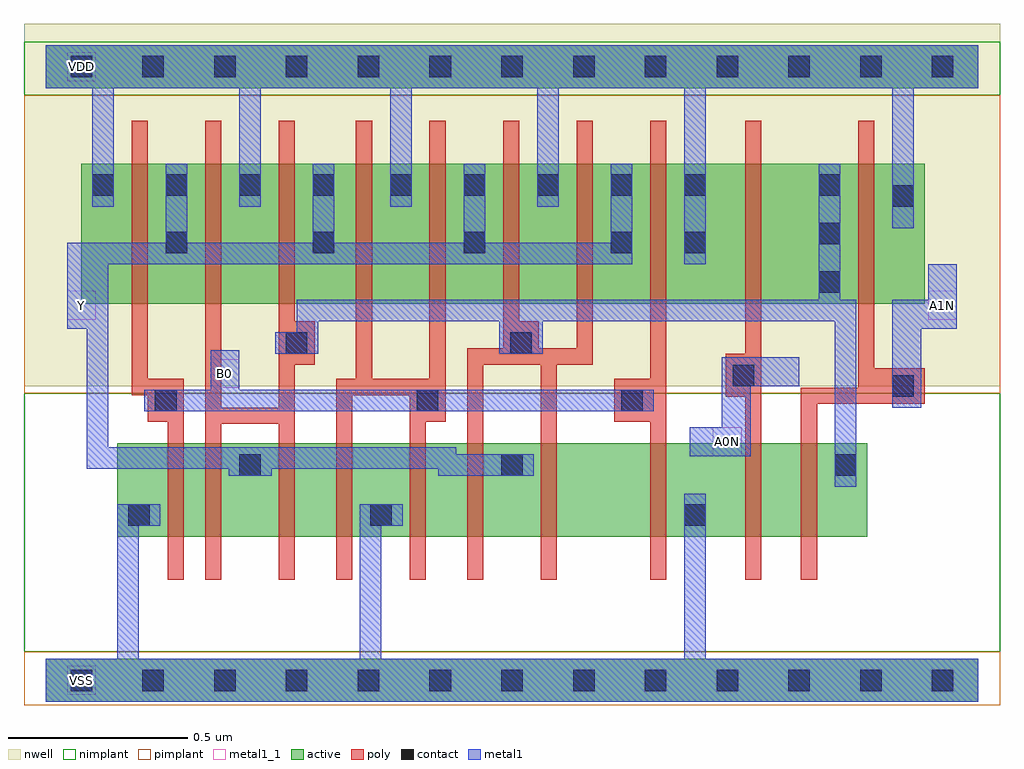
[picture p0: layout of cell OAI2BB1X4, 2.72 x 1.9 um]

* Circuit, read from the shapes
.subckt OAI2BB1X4 A0N A1N B0 VDD VSS Y
M1 n1 B0 VSS VSS nfet w=0.26u l=0.045u
M2 Y n2 n1 VSS nfet w=0.26u l=0.045u
M3 n3 n2 Y VSS nfet w=0.26u l=0.045u
M4 VSS B0 n3 VSS nfet w=0.26u l=0.045u
M5 n4 B0 VSS VSS nfet w=0.26u l=0.045u
M6 Y n2 n4 VSS nfet w=0.26u l=0.045u
M7 n5 n2 Y VSS nfet w=0.26u l=0.045u
M8 VSS B0 n5 VSS nfet w=0.26u l=0.045u
M9 n6 A0N VSS VSS nfet w=0.26u l=0.045u
M10 n2 A1N n6 VSS nfet w=0.26u l=0.045u
M11 Y B0 VDD VDD pfet w=0.39u l=0.045u m=4
M12 VDD n2 Y VDD pfet w=0.39u l=0.045u m=4
M13 n2 A0N VDD VDD pfet w=0.39u l=0.045u
M14 VDD A1N n2 VDD pfet w=0.39u l=0.045u
.ends

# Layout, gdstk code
import gdstk
lib = gdstk.Library(unit=1e-6, precision=5e-10)
def R(c, l, rs):  # rectangles x0, y0, x1, y1
    for r in rs: c.add(gdstk.rectangle(r[:2], r[2:], *l))
def A(c, l, x, y, w, h, nx, ny, dx, dy):  # array of equal rectangles
    R(c, l, [(x+i*dx, y+j*dy, x+i*dx+w, y+j*dy+h) for i in range(nx) for j in range(ny)])
def P(c, l, *ps):  # polygons
    for p in ps: c.add(gdstk.Polygon(p, *l))
active = (1, 0)
nwell = (2, 0)
poly = (3, 0)
nimplant = (4, 0)
pimplant = (5, 0)
contact = (6, 0)
metal1 = (7, 0)
metal1_1 = (7, 1)

oai2bb1x4 = lib.new_cell('OAI2BB1X4')
R(oai2bb1x4, active, [(0,-0.06,2.6,0.06), (0.2,0.4,2.29,0.66), (0.1,1.05,2.45,1.44), (0,1.65,2.6,1.77)])
R(oai2bb1x4, nwell, [(-0.06,0.82,2.66,1.83)])
P(oai2bb1x4, poly, [(0.24,1.56),(0.285,1.56),(0.285,0.84),(0.385,0.84),(0.385,0.28),(0.34,0.28),(0.34,0.72),(0.285,0.72),(0.285,0.795),(0.24,0.795)],
  [(0.445,1.56),(0.49,1.56),(0.49,0.76),(0.65,0.76),(0.65,1.56),(0.695,1.56),(0.695,1),(0.75,1),(0.75,0.88),(0.695,0.88),(0.695,0.28),(0.65,0.28),(0.65,0.715),(0.49,0.715),(0.49,0.28),(0.445,0.28)],
  [(0.865,1.56),(0.91,1.56),(0.91,0.84),(1.07,0.84),(1.07,1.56),(1.115,1.56),(1.115,0.72),(1.06,0.72),(1.06,0.28),(1.015,0.28),(1.015,0.795),(0.855,0.795),(0.855,0.28),(0.81,0.28),(0.81,0.84),(0.865,0.84)],
  [(1.275,1.56),(1.32,1.56),(1.32,1),(1.375,1),(1.375,0.925),(1.48,0.925),(1.48,1.56),(1.525,1.56),(1.525,0.88),(1.425,0.88),(1.425,0.28),(1.38,0.28),(1.38,0.88),(1.22,0.88),(1.22,0.28),(1.175,0.28),(1.175,0.925),(1.275,0.925)],
  [(1.685,1.56),(1.73,1.56),(1.73,0.28),(1.685,0.28),(1.685,0.72),(1.585,0.72),(1.585,0.84),(1.685,0.84)],
  [(1.95,1.56),(1.995,1.56),(1.995,0.28),(1.95,0.28),(1.95,0.79),(1.895,0.79),(1.895,0.91),(1.95,0.91)],
  [(2.265,1.56),(2.31,1.56),(2.31,0.87),(2.45,0.87),(2.45,0.77),(2.15,0.77),(2.15,0.28),(2.105,0.28),(2.105,0.815),(2.265,0.815)])
R(oai2bb1x4, nimplant, [(-0.06,0.08,2.66,0.8), (-0.06,1.63,2.66,1.78)])
R(oai2bb1x4, pimplant, [(-0.06,-0.07,2.66,0.08), (-0.06,0.8,2.66,1.63)])
A(oai2bb1x4, contact, 0.07, -0.03, 0.06, 0.06, 13, 2, 0.2, 1.71)
A(oai2bb1x4, contact, 2.155, 1.08, 0.06, 0.06, 1, 3, 0, 0.135)
A(oai2bb1x4, contact, 0.13, 1.35, 0.06, 0.06, 4, 1, 0.205, 0)
A(oai2bb1x4, contact, 0.96, 1.35, 0.06, 0.06, 5, 1, 0.205, 0)
R(oai2bb1x4, contact, [(0.23,0.43,0.29,0.49), (0.905,0.43,0.965,0.49), (1.78,0.43,1.84,0.49), (0.54,0.57,0.6,0.63), (1.27,0.57,1.33,0.63), (2.2,0.57,2.26,0.63), (0.305,0.75,0.365,0.81), (1.035,0.75,1.095,0.81), (1.605,0.75,1.665,0.81), (2.36,0.79,2.42,0.85), (1.915,0.82,1.975,0.88), (0.67,0.91,0.73,0.97), (1.295,0.91,1.355,0.97), (0.335,1.19,0.395,1.25), (0.745,1.19,0.805,1.25), (1.165,1.19,1.225,1.25), (1.575,1.19,1.635,1.25), (1.78,1.19,1.84,1.25), (2.36,1.32,2.42,1.38)])
P(oai2bb1x4, metal1, [(0,1.77),(2.6,1.77),(2.6,1.65),(2.42,1.65),(2.42,1.26),(2.36,1.26),(2.36,1.65),(1.84,1.65),(1.84,1.16),(1.78,1.16),(1.78,1.65),(1.43,1.65),(1.43,1.32),(1.37,1.32),(1.37,1.65),(1.02,1.65),(1.02,1.32),(0.96,1.32),(0.96,1.65),(0.6,1.65),(0.6,1.32),(0.54,1.32),(0.54,1.65),(0.19,1.65),(0.19,1.32),(0.13,1.32),(0.13,1.65),(0,1.65)],
  [(0.335,1.44),(0.395,1.44),(0.395,1.22),(0.745,1.22),(0.745,1.44),(0.805,1.44),(0.805,1.22),(1.165,1.22),(1.165,1.44),(1.225,1.44),(1.225,1.22),(1.575,1.22),(1.575,1.44),(1.635,1.44),(1.635,1.16),(0.175,1.16),(0.175,0.65),(1.145,0.65),(1.145,0.63),(1.36,0.63),(1.36,0.57),(1.095,0.57),(1.095,0.59),(0.63,0.59),(0.63,0.57),(0.51,0.57),(0.51,0.59),(0.115,0.59),(0.115,0.98),(0.06,0.98),(0.06,1.22),(0.335,1.22)],
  [(2.155,1.44),(2.215,1.44),(2.215,1.06),(2.26,1.06),(2.26,0.54),(2.2,0.54),(2.2,1),(1.385,1),(1.385,0.91),(1.265,0.91),(1.265,1),(0.76,1),(0.76,0.91),(0.64,0.91),(0.64,0.97),(0.7,0.97),(0.7,1.06),(2.155,1.06)],
  [(0.46,0.92),(0.54,0.92),(0.54,0.81),(1.695,0.81),(1.695,0.75),(0.275,0.75),(0.275,0.81),(0.46,0.81)],
  [(2.46,1.16),(2.54,1.16),(2.54,0.98),(2.44,0.98),(2.44,0.76),(2.36,0.76),(2.36,1.06),(2.46,1.06)],
  [(1.885,0.9),(2.1,0.9),(2.1,0.82),(1.965,0.82),(1.965,0.625),(1.795,0.625),(1.795,0.705),(1.885,0.705)],
  [(0.2,0.49),(0.32,0.49),(0.32,0.43),(0.26,0.43),(0.26,0.06),(0.875,0.06),(0.875,0.49),(0.995,0.49),(0.995,0.43),(0.935,0.43),(0.935,0.06),(1.78,0.06),(1.78,0.52),(1.84,0.52),(1.84,0.06),(2.6,0.06),(2.6,-0.06),(0,-0.06),(0,0.06),(0.2,0.06)])
R(oai2bb1x4, metal1_1, [(0.06,-0.04,0.14,0.04), (1.86,0.625,1.94,0.705), (0.46,0.815,0.54,0.895), (0.06,1.005,0.14,1.085), (2.46,1.005,2.54,1.085), (0.06,1.67,0.14,1.75)])
oai2bb1x4.add(gdstk.Label('Y', (0.1,1.045), layer=7, texttype=1))
oai2bb1x4.add(gdstk.Label('A0N', (1.9,0.665), layer=7, texttype=1))
oai2bb1x4.add(gdstk.Label('A1N', (2.5,1.045), layer=7, texttype=1))
oai2bb1x4.add(gdstk.Label('B0', (0.5,0.855), layer=7, texttype=1))
oai2bb1x4.add(gdstk.Label('VDD', (0.1,1.71), layer=7, texttype=1))
oai2bb1x4.add(gdstk.Label('VSS', (0.1,0), layer=7, texttype=1))
oai2bb1x4.add(gdstk.Label('OAI2BB1X4', (0,0), layer=63, texttype=0))

lib.write_gds('OAI2BB1X4.gds')
